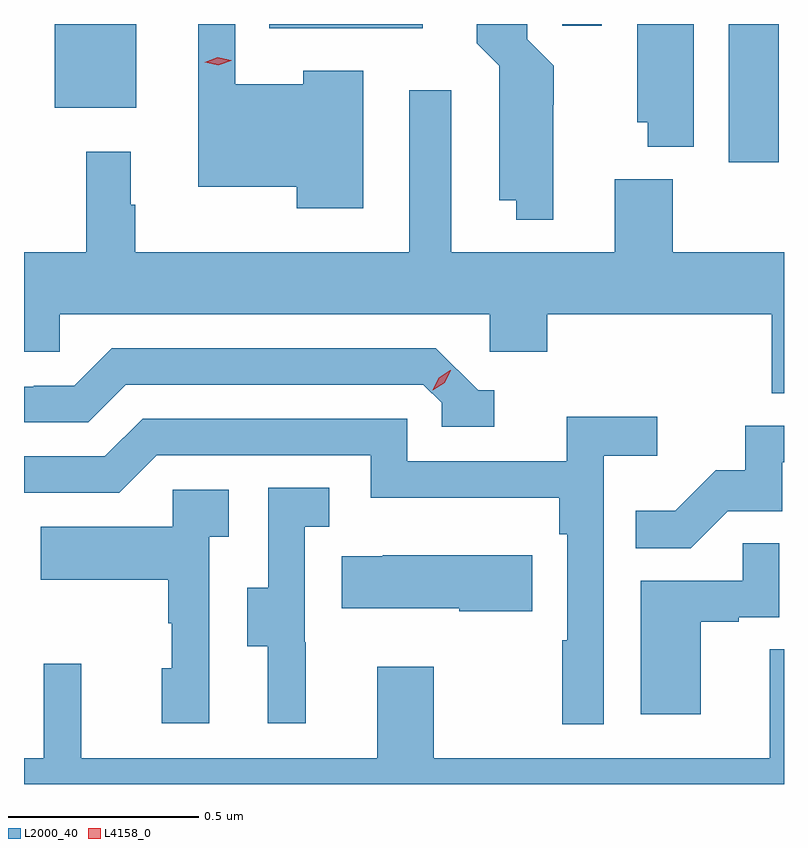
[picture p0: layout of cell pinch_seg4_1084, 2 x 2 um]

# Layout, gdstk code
import gdstk
lib = gdstk.Library(unit=1e-6, precision=1e-09)
def R(c, l, rs):  # rectangles x0, y0, x1, y1
    for r in rs: c.add(gdstk.rectangle(r[:2], r[2:], *l))
def P(c, l, *ps):  # polygons
    for p in ps: c.add(gdstk.Polygon(p, *l))
L2000_40 = (2000, 40)
L4158_0 = (4158, 0)

pinch_seg4_1084 = lib.new_cell('pinch_seg4_1084')
R(pinch_seg4_1084, L2000_40, [(855.107,765.252,855.239,765.616), (853.334,765.395,853.549,765.616), (853.898,765.605,854.302,765.616), (854.669,765.612,854.773,765.616)])
P(pinch_seg4_1084, L2000_40, [(854.646,765.404),(854.647,765.404),(854.647,765.506),(854.577,765.576),(854.577,765.616),(854.444,765.616),(854.444,765.565),(854.504,765.506),(854.504,765.152),(854.549,765.152),(854.549,765.101),(854.646,765.101)],
  [(854.146,765.493),(853.988,765.493),(853.988,765.457),(853.809,765.457),(853.809,765.616),(853.712,765.616),(853.712,765.188),(853.971,765.188),(853.971,765.131),(854.146,765.131)],
  [(855.016,765.616),(854.867,765.616),(854.867,765.357),(854.894,765.357),(854.894,765.293),(855.016,765.293)],
  [(855.253,765.016),(854.96,765.016),(854.96,765.208),(854.807,765.208),(854.807,765.016),(854.377,765.016),(854.377,765.442),(854.267,765.442),(854.267,765.016),(853.546,765.016),(853.546,765.14),(853.534,765.14),(853.534,765.28),(853.417,765.28),(853.417,765.016),(853.253,765.016),(853.253,764.754),(853.347,764.754),(853.347,764.852),(854.478,764.852),(854.478,764.754),(854.63,764.754),(854.63,764.852),(855.221,764.852),(855.221,764.644),(855.253,764.644)],
  [(854.491,764.652),(854.448,764.652),(854.337,764.763),(853.484,764.763),(853.385,764.664),(853.278,764.664),(853.278,764.661),(853.253,764.661),(853.253,764.568),(853.422,764.568),(853.521,764.667),(854.304,764.667),(854.352,764.619),(854.352,764.556),(854.491,764.556)],
  [(854.778,764.48),(854.92,764.48),(854.92,764.582),(854.681,764.582),(854.681,764.466),(854.262,764.466),(854.262,764.577),(853.565,764.577),(853.466,764.478),(853.253,764.478),(853.253,764.382),(853.503,764.382),(853.602,764.481),(854.166,764.481),(854.166,764.369),(854.662,764.369),(854.662,764.273),(854.682,764.273),(854.682,763.994),(854.67,763.994),(854.67,763.773),(854.778,763.773)],
  [(855.105,764.334),(855.249,764.334),(855.249,764.463),(855.253,764.463),(855.253,764.559),(855.151,764.559),(855.151,764.442),(855.074,764.442),(854.967,764.335),(854.863,764.335),(854.863,764.236),(855.007,764.236)],
  [(853.994,763.989),(853.992,763.989),(853.992,764.293),(854.056,764.293),(854.056,764.396),(853.896,764.396),(853.896,764.133),(853.841,764.133),(853.841,763.978),(853.895,763.978),(853.895,763.776),(853.994,763.776)],
  [(853.74,764.267),(853.792,764.267),(853.792,764.391),(853.644,764.391),(853.644,764.293),(853.297,764.293),(853.297,764.153),(853.632,764.153),(853.632,764.039),(853.642,764.039),(853.642,763.92),(853.616,763.92),(853.616,763.776),(853.74,763.776)],
  [(855.034,764.043),(855.134,764.043),(855.134,764.055),(855.24,764.055),(855.24,764.249),(855.145,764.249),(855.145,764.151),(854.876,764.151),(854.876,763.8),(855.034,763.8)],
  [(854.59,764.218),(854.197,764.218),(854.197,764.215),(854.089,764.215),(854.089,764.078),(854.399,764.078),(854.399,764.071),(854.59,764.071)],
  [(855.253,763.97),(855.215,763.97),(855.215,763.684),(854.331,763.684),(854.331,763.924),(854.183,763.924),(854.183,763.684),(853.403,763.684),(853.403,763.933),(853.305,763.933),(853.305,763.684),(853.253,763.684),(853.253,763.616),(855.253,763.616)])
P(pinch_seg4_1084, L4158_0, [(853.764,765.508),(853.728,765.516),(853.728,765.516),(853.728,765.516),(853.763,765.528),(853.799,765.52),(853.799,765.52),(853.799,765.519)],
  [(854.329,764.652),(854.329,764.652),(854.345,764.685),(854.375,764.705),(854.376,764.705),(854.376,764.705),(854.36,764.672),(854.329,764.652)])

lib.write_gds('pinch_seg4_1084.gds')
